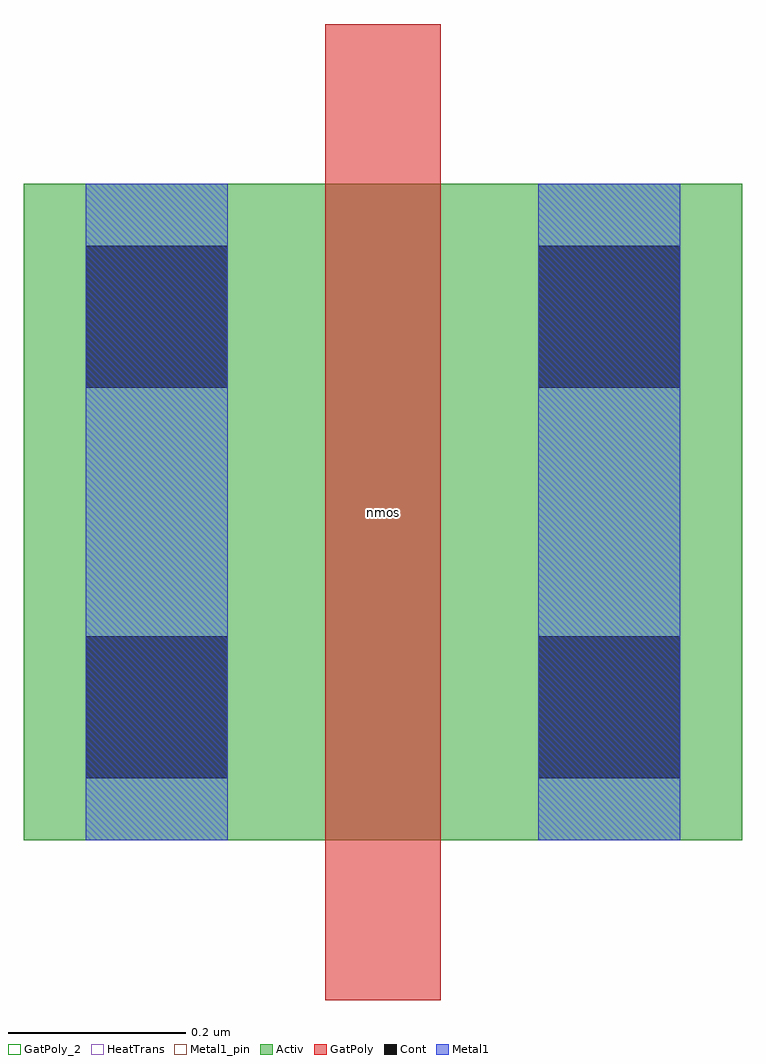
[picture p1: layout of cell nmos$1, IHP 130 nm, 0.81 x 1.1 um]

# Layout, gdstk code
import gdstk
lib = gdstk.Library(unit=1e-6, precision=1e-09)
def R(c, l, rs):  # rectangles x0, y0, x1, y1
    for r in rs: c.add(gdstk.rectangle(r[:2], r[2:], *l))
Activ = (1, 0)
GatPoly = (5, 0)
GatPoly_2 = (5, 2)
Cont = (6, 0)
Metal1 = (8, 0)
Metal1_pin = (8, 2)
HeatTrans = (51, 0)

nmos_1 = lib.new_cell('nmos$1')
R(nmos_1, Activ, [(0,0,0.3,0.3), (0,0,0.81,0.74), (0.51,0,0.81,0.3)])
R(nmos_1, GatPoly, [(0.34,-0.18,0.47,0.92)])
R(nmos_1, GatPoly_2, [(0.34,-0.18,0.47,0.92)])
R(nmos_1, Cont, [(0.07,0.07,0.23,0.23), (0.58,0.07,0.74,0.23), (0.07,0.51,0.23,0.67), (0.58,0.51,0.74,0.67)])
R(nmos_1, Metal1, [(0.07,0,0.23,0.74), (0.58,0,0.74,0.74)])
R(nmos_1, Metal1_pin, [(0.07,0,0.23,0.74), (0.58,0,0.74,0.74)])
R(nmos_1, HeatTrans, [(0.34,-0.18,0.47,0.92)])
nmos_1.add(gdstk.Label('nmos', (0.405,0.37), layer=63, texttype=0))
nmos_1.add(gdstk.Label('nmos', (0.405,0.37), layer=51, texttype=0))

lib.write_gds('nmos_1.gds')
